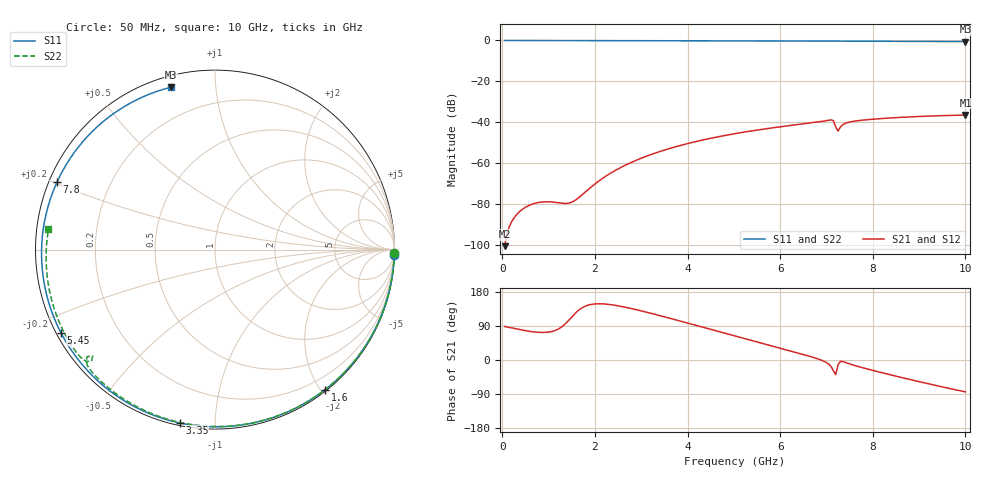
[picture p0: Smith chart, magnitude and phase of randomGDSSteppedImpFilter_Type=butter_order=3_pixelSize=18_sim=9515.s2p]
! freq	dB(S11)	phase(S11)	dB(S12)	phase(S12)
!  dB(S21)	phase(S21)	dB(S22)	phase(S22)
!S-par simulation data
#  GHz  S  DB  R 50
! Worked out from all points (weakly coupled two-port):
!   200 points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, 50 MHz to 10 GHz, reference 50 ohm
!   highest |S21| = -36.53 dB at 10 GHz (marker M1); lowest = -100.7 dB at 50 MHz (marker M2)
!   lowest |S11| = -0.6 dB at 10 GHz (marker M3), VSWR 30.92, Z = 2.56 + j38.1 ohm
!   |S11| at or under -10 dB: nowhere
!   |S22| runs from -0.9 to 0.0 dB; largest |S21 - S12| = 0
!   S11 on the Smith chart (normalised r, x): 50 MHz: 1, -71; 1.6 GHz: 0.02, -2.06; 3.35 GHz: 0.01, -0.82; 5.45 GHz: 0.01, -0.25; 7.8 GHz: 0.02, +0.21; 10 GHz: 0.05, +0.76
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0.05  -0.00 -1.6  -100.74 88.4  -100.74 88.4  -0.00 -1.1
0.7  -0.03 -23.2  -79.77 73.9  -79.77 73.9  -0.02 -15.3
0.95  -0.04 -31.3  -78.98 73.1  -78.98 73.1  -0.03 -20.8
1.4  -0.06 -45.6  -79.78 100.2  -79.78 100.2  -0.04 -30.4
1.6  -0.06 -51.8  -77.87 126.2  -77.87 126.2  -0.04 -34.7
1.75  -0.07 -56.4  -75.07 139.6  -75.07 139.6  -0.05 -37.8
2.45  -0.09 -77.0  -63.52 144.0  -63.52 144.0  -0.07 -52.4
3.35  -0.12 -101.5  -54.77 118.8  -54.77 118.8  -0.09 -70.3
3.4  -0.13 -102.8  -54.40 117.2  -54.40 117.2  -0.09 -71.3
4.15  -0.15 -121.6  -49.68 92.6  -49.68 92.6  -0.12 -85.6
5.05  -0.20 -142.7  -45.54 62.7  -45.54 62.7  -0.16 -102.0
5.45  -0.22 -151.7  -44.06 49.4  -44.06 49.4  -0.18 -109.1
6.7  -0.30 -179.2  -40.28 7.4  -40.28 7.4  -0.26 -131.0
7.1  -0.32 172.1  -38.88 -17.3  -38.88 -17.3  -0.44 -139.0
7.15  -0.33 171.0  -39.27 -28.4  -39.27 -28.4  -0.64 -140.0
7.25  -0.34 168.8  -44.41 -12.7  -44.41 -12.7  -0.66 -137.9
7.3  -0.34 167.8  -42.43 -3.5  -42.43 -3.5  -0.47 -138.9
7.4  -0.35 165.6  -40.65 -6.1  -40.65 -6.1  -0.36 -141.2
7.8  -0.38 156.7  -38.98 -21.0  -38.98 -21.0  -0.35 -148.6
8.35  -0.42 144.4  -38.00 -38.2  -38.00 -38.2  -0.40 -158.0
9.2  -0.50 124.6  -37.05 -62.7  -37.05 -62.7  -0.49 -172.7
10  -0.56 105.2  -36.53 -84.1  -36.53 -84.1  -0.59 173.1
